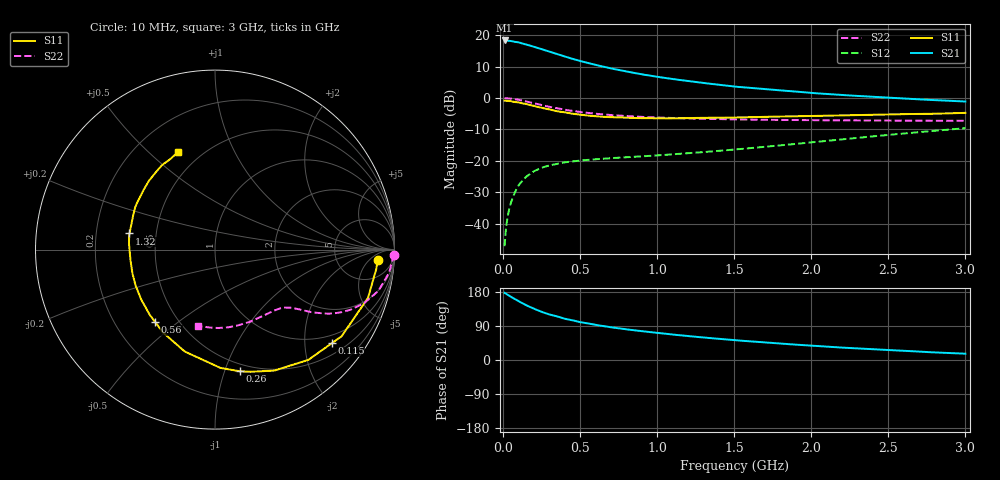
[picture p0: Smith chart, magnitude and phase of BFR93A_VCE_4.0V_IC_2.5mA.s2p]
! Infineon Technologies  Discrete & RF Semiconductors
! BFR93A
! VCE =  4.0 V,  IC =  2.5 mA
! Common Emitter S-Parameters:  Nov 2015
# GHz  S  MA  R  50
!  f  S11  S21  S12  S22
! GHz  MAG  ANG  MAG  ANG  MAG  ANG  MAG  ANG
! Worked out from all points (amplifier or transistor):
!   180 points, 10 MHz to 3 GHz, reference 50 ohm
!   highest |S21| = 18.3 dB at 10 MHz (marker M1)
!   |S21| within 3 dB of that: start of sweep to 264.4 MHz
!   unconditionally stable (mu >= 1): 931.1 MHz to 2.675 GHz
!   at 160 MHz: K = 0.22, MSG = 20.8 dB, |S12| = -24.7 dB
!   at 1.22 GHz: K = 1.13, MAG = 9.2 dB, |S12| = -17.5 dB
!   at 3 GHz: K = 0.94, MSG = 4.2 dB, |S12| = -9.6 dB
!   S11 on the Smith chart (normalised r, x): 10 MHz: 15, -10; 115 MHz: 0.77, -2.64; 260 MHz: 0.43, -1.13; 560 MHz: 0.37, -0.41; 1.32 GHz: 0.35, +0.08; 3 GHz: 0.38, +0.62
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0.01  0.9091 -3.6  8.235 177.2  0.0044 88.5  0.9951 -1.6
0.02  0.9044 -7.1  8.223 174.6  0.0088 84.9  0.9917 -3.0
0.04  0.8942 -14.0  8.111 169.5  0.0171 81.3  0.9826 -6.0
0.05  0.894 -17.5  8.079 166.9  0.0212 80.5  0.979 -7.5
0.1  0.8548 -34.4  7.686 155.3  0.0406 71.5  0.9387 -14.2
0.115  0.8336 -38.8  7.491 152.2  0.0451 68.5  0.9213 -15.8
0.15  0.8049 -49.8  7.129 144.3  0.0559 63.5  0.8835 -19.7
0.2  0.7507 -63.9  6.56 135.1  0.0684 57.6  0.8265 -23.9
0.26  0.6914 -78.6  5.878 125.7  0.0792 51.8  0.7628 -27.6
0.3  0.6596 -87.4  5.465 120.2  0.0847 49.0  0.7251 -29.5
0.4  0.5925 -106.5  4.555 108.9  0.0947 44.1  0.6505 -32.6
0.5  0.545 -122.2  3.876 99.9  0.1013 41.4  0.5986 -34.5
0.52  0.5367 -124.7  3.769 98.6  0.1023 41.2  0.5912 -34.8
0.56  0.523 -129.8  3.56 95.8  0.1042 40.8  0.5765 -35.3
0.7  0.4963 -145.9  2.958 86.3  0.1106 40.3  0.5357 -37.2
0.8  0.486 -155.4  2.64 80.9  0.1143 41.0  0.516 -38.7
1.02  0.4746 -172.6  2.139 70.6  0.1231 43.4  0.4881 -42.2
1.32  0.4848 169.3  1.712 58.7  0.1393 47.8  0.4663 -48.4
1.52  0.4905 159.8  1.507 51.8  0.1529 50.7  0.4566 -53.4
2.02  0.5185 140.0  1.196 37.3  0.1991 55.5  0.4436 -67.6
2.52  0.5489 124.6  1.004 25.9  0.2615 55.5  0.4377 -84.0
3  0.5809 110.8  0.88 16.7  0.3318 51.9  0.4351 -102.5
